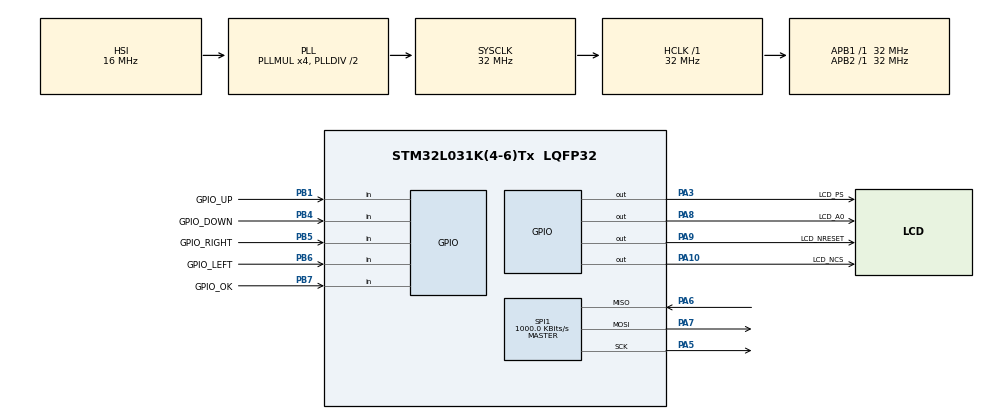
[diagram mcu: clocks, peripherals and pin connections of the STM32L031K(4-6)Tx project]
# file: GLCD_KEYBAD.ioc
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Mcu.Family=STM32L0
Mcu.Name=STM32L031K(4-6)Tx
Mcu.Package=LQFP32
PA10.GPIO_Label=LCD_NCS
PA10.Signal=GPIO_Output
PA13.Mode=Serial_Wire
PA13.Signal=SYS_SWDIO
PA14.Mode=Serial_Wire
PA14.Signal=SYS_SWCLK
PA3.GPIO_Label=LCD_PS
PA3.Signal=GPIO_Output
PA5.Mode=Full_Duplex_Master
PA5.Signal=SPI1_SCK
PA6.Mode=Full_Duplex_Master
PA6.Signal=SPI1_MISO
PA7.Mode=Full_Duplex_Master
PA7.Signal=SPI1_MOSI
PA8.GPIO_Label=LCD_A0
PA8.Signal=GPIO_Output
PA9.GPIO_Label=LCD_NRESET
PA9.Signal=GPIO_Output
PB1.GPIO_Label=GPIO_UP
PB1.Signal=GPIO_Input
PB4.GPIO_Label=GPIO_DOWN
PB4.Signal=GPIO_Input
PB5.GPIO_Label=GPIO_RIGHT
PB5.Signal=GPIO_Input
PB6.GPIO_Label=GPIO_LEFT
PB6.Signal=GPIO_Input
PB7.GPIO_Label=GPIO_OK
PB7.Signal=GPIO_Input
ProjectManager.HeapSize=0x200
ProjectManager.StackSize=0x400
ProjectManager.TargetToolchain=STM32CubeIDE
RCC.AHBFreq_Value=32000000
RCC.APB1Freq_Value=32000000
RCC.APB1TimFreq_Value=32000000
RCC.APB2Freq_Value=32000000
RCC.APB2TimFreq_Value=32000000
RCC.HCLKFreq_Value=32000000
RCC.HSE_VALUE=8000000
RCC.HSI16_VALUE=16000000
RCC.HSI_VALUE=16000000
RCC.LSE_VALUE=32768
RCC.MSI_VALUE=2097000
RCC.PLLMUL=RCC_PLLMUL_4
RCC.SYSCLKFreq_VALUE=32000000
RCC.SYSCLKSource=RCC_SYSCLKSOURCE_PLLCLK
RCC.VCOOutputFreq_Value=64000000
SPI1.BaudRatePrescaler=SPI_BAUDRATEPRESCALER_32
SPI1.CLKPhase=SPI_PHASE_2EDGE
SPI1.CLKPolarity=SPI_POLARITY_HIGH
SPI1.CalculateBaudRate=1000.0 KBits/s
SPI1.Direction=SPI_DIRECTION_2LINES
SPI1.Mode=SPI_MODE_MASTER
SPI1.VirtualType=VM_MASTER
board=custom

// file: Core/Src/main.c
/* USER CODE BEGIN Header */
/**
  ******************************************************************************
  * @file           : main.c
  * @brief          : Main program body
  ******************************************************************************
  * @attention
  *
  * Copyright (c) 2023 STMicroelectronics.
  * All rights reserved.
  *
  * This software is licensed under terms that can be found in the LICENSE file
  * in the root directory of this software component.
  * If no LICENSE file comes with this software, it is provided AS-IS.
  *
  ******************************************************************************
  */
//#define GLCD_TEST
//#define TEST_KEYBAD
#define TEST_APP
/* USER CODE END Header */
#include "main.h"

/* USER CODE BEGIN Includes */
#include "hal_GLCD.h"
#include "hal_KeyPad.h"
#include "app_GLCDHelper.h"
#include "app_Menu.h"
/* USER CODE END Includes */

SPI_HandleTypeDef hspi1;

/* USER CODE BEGIN PV */
uint8_t g_aui8TxSpi[4];
uint8_t g_aui8RxSpi[4];

#ifdef TEST_KEYBAD
uint8_t g_ui8BtnState ;
uint8_t g_aDataKeyPad[5][6]= {"UP","DOWN","RIGHT","LEFT","OK"};
#endif

/* USER CODE END PV */

void SystemClock_Config(void);
static void MX_GPIO_Init(void);
static void MX_SPI1_Init(void);

int main(void)
{
  /* USER CODE BEGIN 1 */
#ifdef GLCD_TEST
	uint8_t pui8stringToWrite[4][8] =  {"MAIN","GPS","AUDIO","PLAIN"};
#endif
  /* USER CODE END 1 */

  /* MCU Configuration--------------------------------------------------------*/

  /* Reset of all peripherals, Initializes the Flash interface and the Systick. */
  HAL_Init();

  /* Configure the system clock */
  SystemClock_Config();

  /* Initialize all configured peripherals */
  MX_GPIO_Init();
  MX_SPI1_Init();
  /* USER CODE BEGIN 2 */
  HAL_GLCD_InitalizePorts();
  	HAL_GLCD_ClearScreen();

#ifdef GLCD_TEST
	HAL_GLCD_ClearScreen();
	HAL_GLCD_goTo(64, 0);
	HAL_GLCD_writeString(pui8stringToWrite[0]);
	HAL_GLCD_goTo(64, 1);
	HAL_GLCD_writeString(pui8stringToWrite[1]);
	HAL_GLCD_goTo(64, 2);
	HAL_GLCD_writeString(pui8stringToWrite[2]);
	HAL_GLCD_goTo(64, 3);
	HAL_GLCD_writeString(pui8stringToWrite[3]);
	HAL_Delay(1000);
#endif
  /* USER CODE END 2 */

  /* Infinite loop */
  while (1)
  {

    /* USER CODE BEGIN 3 */
#ifdef TEST_APP

		APP_MENU_Action();
#endif

#ifdef TEST_KEYBAD
		g_ui8BtnState = HAL_KEYPAD_getPressedKey();

		if(g_ui8BtnState == KEYPAD_BUTTON_UP)
		{
			HAL_GLCD_ClearScreen();
			APP_GLCDHelper_Display(KEY_INDEX , GLCD_KEY_INDEX_X , GLCD_KEY_INDEX_Y ,g_aDataKeyPad[0], 0 );
		}
		else if(g_ui8BtnState == KEYPAD_BUTTON_DOWN)
		{
			HAL_GLCD_ClearScreen();
			APP_GLCDHelper_Display(KEY_INDEX , GLCD_KEY_INDEX_X , GLCD_KEY_INDEX_Y ,g_aDataKeyPad[1], 0 );
		}
		else if(g_ui8BtnState == KEYPAD_BUTTON_RIGHT)
		{
			HAL_GLCD_ClearScreen();
			APP_GLCDHelper_Display(KEY_INDEX , GLCD_KEY_INDEX_X , GLCD_KEY_INDEX_Y , g_aDataKeyPad[2] , 0 );
		}
		else if(g_ui8BtnState == KEYPAD_BUTTON_LEFT)
		{
			HAL_GLCD_ClearScreen();
			APP_GLCDHelper_Display(KEY_INDEX , GLCD_KEY_INDEX_X , GLCD_KEY_INDEX_Y ,g_aDataKeyPad[3], 0 );
		}
		else if(g_ui8BtnState == KEYPAD_BUTTON_OK)
		{
			HAL_GLCD_ClearScreen();
			APP_GLCDHelper_Display(KEY_INDEX , GLCD_KEY_INDEX_X , GLCD_KEY_INDEX_Y ,g_aDataKeyPad[4], 0 );
		}
#endif

  }
  /* USER CODE END 3 */
}

void SystemClock_Config(void)
{
  RCC_OscInitTypeDef RCC_OscInitStruct = {0};
  RCC_ClkInitTypeDef RCC_ClkInitStruct = {0};

  /** Configure the main internal regulator output voltage
  */
  __HAL_PWR_VOLTAGESCALING_CONFIG(PWR_REGULATOR_VOLTAGE_SCALE1);
  /** Initializes the RCC Oscillators according to the specified parameters
  * in the RCC_OscInitTypeDef structure.
  */
  RCC_OscInitStruct.OscillatorType = RCC_OSCILLATORTYPE_HSI;
  RCC_OscInitStruct.HSIState = RCC_HSI_ON;
  RCC_OscInitStruct.HSICalibrationValue = RCC_HSICALIBRATION_DEFAULT;
  RCC_OscInitStruct.PLL.PLLState = RCC_PLL_ON;
  RCC_OscInitStruct.PLL.PLLSource = RCC_PLLSOURCE_HSI;
  RCC_OscInitStruct.PLL.PLLMUL = RCC_PLLMUL_4;
  RCC_OscInitStruct.PLL.PLLDIV = RCC_PLLDIV_2;
  if (HAL_RCC_OscConfig(&RCC_OscInitStruct) != HAL_OK)
  {
    Error_Handler();
  }
  /** Initializes the CPU, AHB and APB buses clocks
  */
  RCC_ClkInitStruct.ClockType = RCC_CLOCKTYPE_HCLK|RCC_CLOCKTYPE_SYSCLK
                              |RCC_CLOCKTYPE_PCLK1|RCC_CLOCKTYPE_PCLK2;
  RCC_ClkInitStruct.SYSCLKSource = RCC_SYSCLKSOURCE_PLLCLK;
  RCC_ClkInitStruct.AHBCLKDivider = RCC_SYSCLK_DIV1;
  RCC_ClkInitStruct.APB1CLKDivider = RCC_HCLK_DIV1;
  RCC_ClkInitStruct.APB2CLKDivider = RCC_HCLK_DIV1;

  if (HAL_RCC_ClockConfig(&RCC_ClkInitStruct, FLASH_LATENCY_1) != HAL_OK)
  {
    Error_Handler();
  }
}

static void MX_SPI1_Init(void)
{

  /* SPI1 parameter configuration*/
  hspi1.Instance = SPI1;
  hspi1.Init.Mode = SPI_MODE_MASTER;
  hspi1.Init.Direction = SPI_DIRECTION_2LINES;
  hspi1.Init.DataSize = SPI_DATASIZE_8BIT;
  hspi1.Init.CLKPolarity = SPI_POLARITY_HIGH;
  hspi1.Init.CLKPhase = SPI_PHASE_2EDGE;
  hspi1.Init.NSS = SPI_NSS_SOFT;
  hspi1.Init.BaudRatePrescaler = SPI_BAUDRATEPRESCALER_32;
  hspi1.Init.FirstBit = SPI_FIRSTBIT_MSB;
  hspi1.Init.TIMode = SPI_TIMODE_DISABLE;
  hspi1.Init.CRCCalculation = SPI_CRCCALCULATION_DISABLE;
  hspi1.Init.CRCPolynomial = 7;
  if (HAL_SPI_Init(&hspi1) != HAL_OK)
  {
    Error_Handler();
  }

}

static void MX_GPIO_Init(void)
{
  GPIO_InitTypeDef GPIO_InitStruct = {0};

  /* GPIO Ports Clock Enable */
  __HAL_RCC_GPIOA_CLK_ENABLE();
  __HAL_RCC_GPIOB_CLK_ENABLE();

  /*Configure GPIO pin Output Level */
  HAL_GPIO_WritePin(GPIOA, GPIO_PIN_3|GPIO_PIN_8|GPIO_PIN_9|GPIO_PIN_10, GPIO_PIN_RESET);

  /*Configure GPIO pins : PA3 PA8 PA9 PA10 */
  GPIO_InitStruct.Pin = GPIO_PIN_3|GPIO_PIN_8|GPIO_PIN_9|GPIO_PIN_10;
  GPIO_InitStruct.Mode = GPIO_MODE_OUTPUT_PP;
  GPIO_InitStruct.Pull = GPIO_NOPULL;
  GPIO_InitStruct.Speed = GPIO_SPEED_FREQ_LOW;
  HAL_GPIO_Init(GPIOA, &GPIO_InitStruct);

  /*Configure GPIO pins : PB1 PB4 PB5 PB6
                           PB7 */
  GPIO_InitStruct.Pin = GPIO_PIN_1|GPIO_PIN_4|GPIO_PIN_5|GPIO_PIN_6
                          |GPIO_PIN_7;
  GPIO_InitStruct.Mode = GPIO_MODE_INPUT;
  GPIO_InitStruct.Pull = GPIO_NOPULL;
  HAL_GPIO_Init(GPIOB, &GPIO_InitStruct);

}

void Error_Handler(void)
{
  __disable_irq();
  while (1)
  {
  }
}
